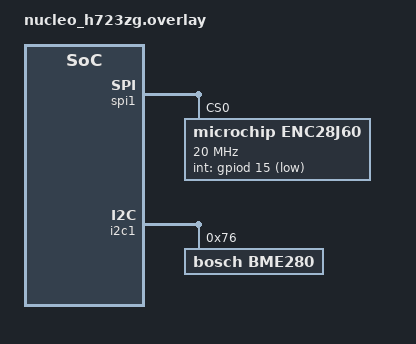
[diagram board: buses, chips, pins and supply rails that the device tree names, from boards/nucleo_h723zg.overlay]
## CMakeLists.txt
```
# SPDX-License-Identifier: Apache-2.0

cmake_minimum_required(VERSION 3.20.0)
find_package(Zephyr REQUIRED HINTS $ENV{ZEPHYR_BASE})
project(eco_connect_iot_gateway)

target_sources(app PRIVATE
  src/main.c
  src/led/hal/led_hal.c
  src/led/cmsis/led_cmsis.c
  src/net/app_net.c
  src/net/enc28j60_revid.c
  src/net/tcp/app_tcp.c
  src/net/http/app_http.c
  src/sensor/app_sensor.c
)

# Single include root: sources include "led/hal/led_hal.h", "net/app_net.h"
target_include_directories(app PRIVATE src)

# Linker section holding the HTTP server's static resource table
zephyr_linker_sources(SECTIONS src/net/http/http_sections.ld)

# Web page: src/web/index.html, gzipped into a C byte list at build time
generate_inc_file_for_target(app src/web/index.html
	${ZEPHYR_BINARY_DIR}/include/generated/index.html.gz.inc --gzip)
```

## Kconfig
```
# STM32Cube HAL/LL modules are promptless Kconfig symbols (USE_STM32_HAL_*,
# USE_STM32_LL_*), so prj.conf cannot set them; select them from here.
# Add one entry per HAL/LL module the app calls directly.

config APP_STM32_HAL_GPIO
	bool "Application uses STM32Cube HAL GPIO"
	default y
	select USE_STM32_HAL_GPIO

# IPv4 mode: one address per interface, set in prj.conf

choice APP_NET_MODE
	prompt "Network IPv4 mode"
	default APP_NET_STATIC

config APP_NET_STATIC
	bool "Static IPv4 (direct PC connection)"

config APP_NET_DHCP
	bool "DHCPv4 (router connection)"

endchoice

# Defined in both modes (no "depends on"): app_net.c compiles add_static_ipv4()
# in both and only calls it in static mode.

config APP_NET_STATIC_IPV4_ADDR
	string "Static IPv4 address"
	default "192.168.50.2"

config APP_NET_STATIC_IPV4_NETMASK
	string "Static IPv4 netmask"
	default "255.255.255.0"

source "Kconfig.zephyr"
```

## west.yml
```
# West manifest: pins the Zephyr version and the modules this app builds with.
#
# Fresh workspace (any empty folder, clone this repo into it first):
#   git clone https://github.com/kgsinh/eco-connect-gateway
#   west init -l eco-connect-gateway
#   west update
#
# The existing D:\Workspace keeps using its own manifest (zephyr/west.yml);
# this file only takes effect in a workspace created with `west init -l`.
#
# To upgrade Zephyr: change `revision`, run `west update`, rebuild, retest.
# To use another module (e.g. a sensor HAL), add its name to name-allowlist;
# its revision comes from Zephyr's own west.yml at the pinned release.

manifest:
  remotes:
    - name: zephyrproject-rtos
      url-base: https://github.com/zephyrproject-rtos

  projects:
    - name: zephyr
      remote: zephyrproject-rtos
      revision: v4.4.0
      import:
        name-allowlist:
          - cmsis_6     # CMSIS core headers (Cortex-M7)
          - hal_stm32   # STM32Cube HAL/LL used by Zephyr drivers and src/
          - picolibc    # C library
          - hal_st      # ST sensor drivers (MEMS etc.), for sensors added later
          - littlefs    # P2: filesystem on the W25Q SPI NOR

  self:
    path: eco-connect-gateway
```

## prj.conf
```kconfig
# ============================================================
# STM32H723ZG + ENC28J60 + BME280
# Zephyr Application Configuration
# ============================================================

# GPIO
CONFIG_GPIO=y

# Logging
CONFIG_LOG=y
# Shell "log" command: per-module levels at run time
# (e.g. `log enable dbg app_sensor` shows the BME280 readings)
CONFIG_LOG_CMDS=y
# The shell backend applies this level to every module when it starts; the
# default ("system limit") would show each module's compiled level, DBG included
CONFIG_SHELL_BACKEND_SERIAL_LOG_LEVEL_INF=y

# ============================================================
# Ethernet Networking - ENC28J60 over SPI1
# ============================================================

CONFIG_NETWORKING=y
CONFIG_NET_L2_ETHERNET=y

# IPv4
CONFIG_NET_IPV4=y
CONFIG_NET_IPV6=n
CONFIG_NET_ARP=y
CONFIG_NET_UDP=y
CONFIG_NET_TCP=y
CONFIG_NET_SOCKETS=y

# ============================================================
# HTTP server (static web page)
# ============================================================

CONFIG_HTTP_SERVER=y
CONFIG_HTTP_SERVER_VERSION_2=n
# The server polls its eventfd, its listener and every client in one call:
# 1 + 1 + HTTP_SERVER_MAX_CLIENTS (3) = 5. With the default 3, a second client
# made poll() fail with -ENOMEM and the server restarted, dropping everyone.
CONFIG_ZVFS_POLL_MAX=5

# DHCP support
CONFIG_NET_DHCPV4=y

# Network management events
CONFIG_NET_MGMT=y
CONFIG_NET_MGMT_EVENT=y

# Connection table: one entry per listener, accepted TCP client and bound UDP
# port. Peak use is 7: listeners 80 + 4242, DHCPv4 client (UDP 68), one echo
# client, three HTTP clients. The default 4 allowed only one TCP client at a
# time; further SYNs got RST. 40 B per entry.
CONFIG_NET_MAX_CONN=8

# One IPv4 address per interface
CONFIG_NET_IF_UNICAST_IPV4_ADDR_COUNT=1

# Prevent automatic IP configuration by Zephyr's
# network configuration library.
# app_net.c handles static IP or DHCP explicitly.
CONFIG_NET_CONFIG_SETTINGS=n

# Ping (ICMPv4 echo reply) is built into CONFIG_NET_IPV4; no separate symbol

# ============================================================
# Application Network Mode
# ============================================================

# Option 1: Direct PC connection (default)
CONFIG_APP_NET_STATIC=y

# Option 2: Router connection
# CONFIG_APP_NET_DHCP=y

# ============================================================
# Entropy
# ============================================================

CONFIG_ENTROPY_GENERATOR=y

# ============================================================
# BME280 over I2C1
# ============================================================

CONFIG_I2C=y
CONFIG_SENSOR=y

# ============================================================
# Shell for debugging and bring-up
# ============================================================

CONFIG_SHELL=y

# I2C and sensor commands
CONFIG_I2C_SHELL=y
CONFIG_SENSOR_SHELL=y

# Network commands
CONFIG_NET_SHELL=y

# GPIO commands
CONFIG_GPIO_SHELL=y
```

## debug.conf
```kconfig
# Debug build: layered on prj.conf with
#   west build -p always -b nucleo_h723zg -- -DEXTRA_CONF_FILE=debug.conf
# Same build dir (build/); rebuild without it for the normal -Os image.

# -Og: single-stepping follows the source, locals stay visible
CONFIG_DEBUG_OPTIMIZATIONS=y

# Thread list/stack info for debugger RTOS views (OpenOCD "Zephyr" awareness)
CONFIG_DEBUG_THREAD_INFO=y

# __ASSERT() checks in the kernel and drivers: a failed assert prints file:line
CONFIG_ASSERT=y

# Stack usage per thread ("kernel stacks" in the shell); catches near-overflows
CONFIG_INIT_STACKS=y
CONFIG_THREAD_STACK_INFO=y

# Keep the debug port alive in sleep/stop (sets DBGMCU): Zephyr idles in WFI,
# and a sleeping H7 otherwise refuses "attach" without a reset
CONFIG_STM32_ENABLE_DEBUG_SLEEP_STOP=y
```

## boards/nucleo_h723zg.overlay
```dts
/*
 * PB14 (LD3, red) is driven by CMSIS code in led_cmsis.c. The board DTS
 * routes it to TIM12_CH1 for a PWM LED, and the Zephyr PWM driver would
 * claim the pin at boot, so take TIM12/PWM12 and the pwm-leds node away.
 */
&timers12 {
	status = "disabled";
};

&pwm12 {
	status = "disabled";
};

/ {
	pwmleds {
		status = "disabled";
	};
};

/*
 * Ethernet: ENC28J60 module on SPI1 (Arduino header) replaces the on-board
 * RMII MAC + LAN8742A, so the driver matches with other boards.
 * Disabling &mac also drops Zephyr's non-cacheable SRAM2 region for the
 * on-board MAC (soc/st/stm32/stm32h7x/mpu_regions.c).
 */
&mac {
	status = "disabled";
};

&mdio {
	status = "disabled";
};

/* A child stays enabled when its bus is disabled; the PHY driver would then
 * reference a missing MDIO device.
 */
&eth_phy {
	status = "disabled";
};

&spi1 {
	enc28j60: ethernet@0 {
		compatible = "microchip,enc28j60";
		reg = <0>;   /* cs-gpios[0] from the board DTS: PD14 / D10 */
		/*
		 * SPI1 kernel clock is PLL1_Q = 137.5 MHz with power-of-2 prescalers;
		 * spi_stm32.c takes the first divider at or below this limit, so 20 MHz
		 * (ENC28J60 maximum, DS39662C) selects /8 = 17.2 MHz. Reading a full
		 * 1518-byte frame then takes ~0.72 ms, inside the ~1.26 ms worst-case
		 * window of the driver's 3 KB RX FIFO; /16 = 8.6 MHz took ~1.43 ms.
		 * Both meet the 8 MHz minimum of errata DS80349C issue 1 (B1/B4 only).
		 */
		spi-max-frequency = <DT_FREQ_M(20)>;
		/* INT is active low (DS39662C 12.0) */
		int-gpios = <&gpiod 15 GPIO_ACTIVE_LOW>;   /* PD15 / D9 */
		/* The driver replaces the first three bytes with Microchip's OUI */
		local-mac-address = [00 04 a3 50 00 02];
	};
};

/*
 * BME280 breakout on the Arduino I2C pins (I2C1: SCL PB8 / D15, SDA PB9 / D14,
 * 400 kHz from the board DTS). 4-pin breakouts tie SDO on the board; 0x76 is
 * SDO to GND, 0x77 is SDO to VDDIO (BME280 data sheet 6.2).
 */
&i2c1 {
	bme280: bme280@76 {
		compatible = "bosch,bme280";
		reg = <0x76>;
	};
};
```

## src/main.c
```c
/**
 * @file main.c
 * @brief Eco-Connect gateway entry point: LED chase, network and sensor start.
 *
 * One LED per API layer, all driven from this thread. Exactly one LED is on
 * at a time, moving LD1 -> LD2 -> LD3 every TICK_MS. The pattern differs on
 * purpose from the bare-metal blinky, so the running image is obvious.
 * | LED        | Pin  | Layer                              |
 * |------------|------|------------------------------------|
 * | LD1 green  | PB0  | Zephyr GPIO API (devicetree led0)  |
 * | LD2 yellow | PE1  | STM32Cube HAL (led/hal)            |
 * | LD3 red    | PB14 | CMSIS registers (led/cmsis)        |
 */
#include <stdbool.h>
#include <stdint.h>
#include <errno.h>
#include <zephyr/kernel.h>
#include <zephyr/drivers/gpio.h>
#include "led/hal/led_hal.h"
#include "led/cmsis/led_cmsis.h"
#include "net/app_net.h"
#include "net/tcp/app_tcp.h"
#include "net/http/app_http.h"
#include "sensor/app_sensor.h"

#define TICK_MS   250
#define LED_COUNT 3U

static const struct gpio_dt_spec ld1 = GPIO_DT_SPEC_GET(DT_ALIAS(led0), gpios);

/**
 * @brief Invert one LED, each through its own API layer.
 * @param idx 0 = LD1 (Zephyr GPIO), 1 = LD2 (HAL), 2 = LD3 (CMSIS).
 * @retval 0 Success.
 * @retval -EIO LD1 toggle failed.
 */
static int led_toggle(uint32_t idx)
{
	int ret = 0;

	switch (idx) {
	case 0U:
		if (gpio_pin_toggle_dt(&ld1) < 0) {
			ret = -EIO;
		}
		break;
	case 1U:
		led_hal_toggle();
		break;
	default:
		led_cmsis_toggle();
		break;
	}

	return ret;
}

/**
 * @brief Initialise the LEDs, start networking and run the LED chase.
 * @retval -ENODEV LD1 GPIO controller not ready.
 * @retval -EIO LD1 configure or toggle failed.
 * @note Does not return in normal operation.
 */
int main(void)
{
	uint32_t cur = 0U;

	if (!gpio_is_ready_dt(&ld1)) {
		return -ENODEV;
	}

	if (gpio_pin_configure_dt(&ld1, GPIO_OUTPUT_INACTIVE) < 0) {
		return -EIO;
	}

	led_hal_init();
	led_cmsis_init();

	/* Returns before the DHCP lease, so the LEDs keep running meanwhile */
	(void)app_net_start();

	/* The server thread waits for the interface; main() continues at once */
	(void)app_tcp_start();

	/* Listens on all addresses, so it can start before the link is up */
	(void)app_http_start();

	/* A missing sensor is logged; the LEDs and network keep running */
	(void)app_sensor_start();

	/* All LEDs start off, so toggling keeps exactly one of them on */
	if (led_toggle(cur) < 0) {
		return -EIO;
	}

	while (true) {
		uint32_t next = (cur + 1U) % LED_COUNT;

		(void)k_msleep(TICK_MS);

		if (led_toggle(cur) < 0) {
			return -EIO;
		}

		if (led_toggle(next) < 0) {
			return -EIO;
		}

		cur = next;
	}
}
```

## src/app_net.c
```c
/*
 * Ethernet bring-up: adds the static IPv4 address from Kconfig (for a direct
 * PC link), starts DHCPv4 on the default interface (for a router) and logs
 * the lease. The Ethernet MAC/PHY driver (eth_stm32_hal, LAN8742 over RMII) is
 * brought up by Zephyr from the board devicetree; ICMP echo replies (ping)
 * are handled by the IPv4 stack.
 */
#include "app_net.h"
#include <errno.h>
#include <zephyr/kernel.h>
#include <zephyr/logging/log.h>
#include <zephyr/net/net_if.h>
#include <zephyr/net/net_mgmt.h>
#include <zephyr/net/dhcpv4.h>

LOG_MODULE_REGISTER(app_net, LOG_LEVEL_INF);

static void ipv4_event_handler(struct net_mgmt_event_callback *cb,
			       uint64_t mgmt_event, struct net_if *iface)
{
	char buf[NET_IPV4_ADDR_LEN];

	ARG_UNUSED(cb);

	if (mgmt_event != NET_EVENT_IPV4_ADDR_ADD) {
		return;
	}

	for (int i = 0; i < NET_IF_MAX_IPV4_ADDR; i++) {
		const struct net_if_addr_ipv4 *addr = &iface->config.ip.ipv4->unicast[i];

		if (addr->ipv4.addr_type != NET_ADDR_DHCP) {
			continue;
		}

		LOG_INF("IP address: %s",
			net_addr_ntop(NET_AF_INET, &addr->ipv4.address.in_addr, buf, sizeof(buf)));
		LOG_INF("Netmask:    %s",
			net_addr_ntop(NET_AF_INET, &addr->netmask, buf, sizeof(buf)));
		LOG_INF("Gateway:    %s",
			net_addr_ntop(NET_AF_INET, &iface->config.ip.ipv4->gw, buf, sizeof(buf)));
		LOG_INF("Lease:      %u s", iface->config.dhcpv4.lease_time);
	}
}

/* Static address for a direct PC link; DHCP still runs for router use */
static int add_static_ipv4(struct net_if *iface)
{
	struct net_in_addr addr;
	struct net_in_addr netmask;

	if (CONFIG_APP_NET_STATIC_IPV4_ADDR[0] == '\0') {
		return 0;
	}

	if ((net_addr_pton(NET_AF_INET, CONFIG_APP_NET_STATIC_IPV4_ADDR, &addr) < 0) ||
	    (net_addr_pton(NET_AF_INET, CONFIG_APP_NET_STATIC_IPV4_NETMASK, &netmask) < 0)) {
		LOG_ERR("Invalid static IPv4 address or netmask in Kconfig");
		return -EINVAL;
	}

	if (net_if_ipv4_addr_add(iface, &addr, NET_ADDR_MANUAL, 0U) == NULL) {
		LOG_ERR("Could not add static IPv4 address");
		return -ENOMEM;
	}

	(void)net_if_ipv4_set_netmask_by_addr(iface, &addr, &netmask);
	LOG_INF("Static IP:  %s/%s", CONFIG_APP_NET_STATIC_IPV4_ADDR,
		CONFIG_APP_NET_STATIC_IPV4_NETMASK);

	return 0;
}

int app_net_start(void)
{
	/* Static storage: net_mgmt keeps a pointer to it after registration */
	static struct net_mgmt_event_callback ipv4_cb;
	struct net_if *iface = net_if_get_default();

	if (iface == NULL) {
		LOG_ERR("No network interface");
		return -ENODEV;
	}

	(void)add_static_ipv4(iface);

	net_mgmt_init_event_callback(&ipv4_cb, ipv4_event_handler, NET_EVENT_IPV4_ADDR_ADD);
	net_mgmt_add_event_callback(&ipv4_cb);

	LOG_INF("Starting DHCPv4 on %s", net_if_get_device(iface)->name);
	net_dhcpv4_start(iface);

	return 0;
}
```

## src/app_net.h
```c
/**
 * @file app_net.h
 * @brief IPv4 bring-up on the default network interface.
 */
#ifndef APP_NET_H
#define APP_NET_H

/**
 * @brief Add the static IPv4 address from Kconfig and start DHCPv4.
 *
 * Returns without waiting for a lease. The DHCP address, netmask, gateway
 * and lease time are logged from a net_mgmt event when the lease arrives.
 * An invalid or unset static address is logged and skipped; DHCP still runs.
 *
 * @retval 0 DHCPv4 started.
 * @retval -ENODEV No network interface.
 */
int app_net_start(void);

#endif /* APP_NET_H */
```

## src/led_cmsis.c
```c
/**
 * @file led_cmsis.c
 * @brief LD3 (red, PB14) driven through CMSIS register access.
 *
 * Registers: RM0468 Rev 3, 8.7.42 (RCC_AHB4ENR) and 11.4 (GPIO). The board
 * DTS routes PB14 to TIM12 PWM; boards/nucleo_h723zg.overlay disables that
 * so no Zephyr driver claims the pin.
 */
#include "led_cmsis.h"
#include <soc.h>

void led_cmsis_init(void)
{
	/* The Zephyr gpiob driver may have enabled it already; the read-back
	 * makes sure the enable has completed before the first GPIOB access.
	 */
	RCC->AHB4ENR |= RCC_AHB4ENR_GPIOBEN;
	(void)RCC->AHB4ENR;

	/* Drive low before switching to output so the LED does not flash on */
	GPIOB->BSRR = GPIO_BSRR_BR14;

	GPIOB->OTYPER &= ~GPIO_OTYPER_OT14;          /* 0: push-pull */
	GPIOB->OSPEEDR &= ~GPIO_OSPEEDR_OSPEED14;    /* 00: low speed */
	GPIOB->PUPDR &= ~GPIO_PUPDR_PUPD14;          /* 00: no pull */
	GPIOB->MODER = (GPIOB->MODER & ~GPIO_MODER_MODE14) | GPIO_MODER_MODE14_0;  /* 01: output */
}

void led_cmsis_toggle(void)
{
	if ((GPIOB->ODR & GPIO_ODR_OD14) != 0UL) {
		GPIOB->BSRR = GPIO_BSRR_BR14;
	} else {
		GPIOB->BSRR = GPIO_BSRR_BS14;
	}
}
```

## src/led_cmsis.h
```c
/**
 * @file led_cmsis.h
 * @brief LD3 (red, PB14) driven through CMSIS register access.
 */
#ifndef LED_CMSIS_H
#define LED_CMSIS_H

/**
 * @brief Enable the GPIOB clock and configure PB14 as a push-pull output, LED off.
 */
void led_cmsis_init(void);

/**
 * @brief Invert LD3.
 * @pre led_cmsis_init() has been called.
 * @note Written through BSRR, so PB0 (LD1, owned by the Zephyr GPIO driver)
 *       on the same port is not affected.
 */
void led_cmsis_toggle(void);

#endif /* LED_CMSIS_H */
```

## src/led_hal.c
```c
/*
 * LD2 (yellow, PE1) driver - STM32Cube HAL GPIO.
 * HAL module enabled through APP_STM32_HAL_GPIO in the app Kconfig.
 */
#include "led_hal.h"
#include <stm32h7xx_hal.h>

#define LED_HAL_PORT  GPIOE
#define LED_HAL_PIN   GPIO_PIN_1

void led_hal_init(void)
{
	GPIO_InitTypeDef gpio = {0};

	/* Port E clock may already be on (Zephyr gpioe driver); enabling is idempotent */
	__HAL_RCC_GPIOE_CLK_ENABLE();

	/* Latch low before switching to output so the LED cannot flash on */
	HAL_GPIO_WritePin(LED_HAL_PORT, LED_HAL_PIN, GPIO_PIN_RESET);

	gpio.Pin = LED_HAL_PIN;
	gpio.Mode = GPIO_MODE_OUTPUT_PP;
	gpio.Pull = GPIO_NOPULL;
	gpio.Speed = GPIO_SPEED_FREQ_LOW;
	HAL_GPIO_Init(LED_HAL_PORT, &gpio);
}

void led_hal_toggle(void)
{
	HAL_GPIO_TogglePin(LED_HAL_PORT, LED_HAL_PIN);
}
```

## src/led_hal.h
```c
/*
 * LD2 (yellow, PE1) driver - STM32Cube HAL GPIO.
 */
#ifndef LED_HAL_H
#define LED_HAL_H

void led_hal_init(void);
void led_hal_toggle(void);

#endif /* LED_HAL_H */
```
